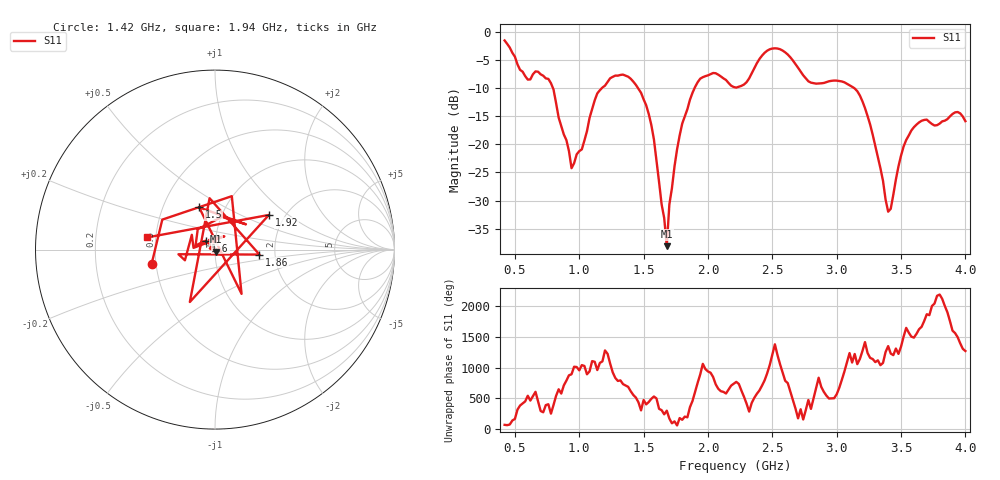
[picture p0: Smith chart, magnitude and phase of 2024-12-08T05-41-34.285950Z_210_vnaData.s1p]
!Created with skrf (http://scikit-rf.org).
# Hz S RI R 50.0
!freq ReS11 ImS11
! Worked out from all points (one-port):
!   180 points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, 420 MHz to 4 GHz, reference 50 ohm
!   lowest |S11| = -38.1 dB at 1.68 GHz (marker M1), VSWR 1.03, Z = 50.5 - j1.13 ohm
!   |S11| at or under -10 dB: 795.7 MHz to 1.176 GHz (379.9 MHz wide, 38.5 % of centre); 1.457 GHz to 1.896 GHz (439.2 MHz wide, 26.2 % of centre); 3.136 GHz to end of sweep
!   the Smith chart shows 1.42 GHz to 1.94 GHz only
!   S11 on the Smith chart (normalised r, x): 1.42 GHz: 0.47, -0.09; 1.5 GHz: 0.76, +0.38; 1.6 GHz: 0.90, +0.09; 1.86 GHz: 1.66, -0.10; 1.92 GHz: 1.66, +0.73; 1.94 GHz: 0.45, +0.07
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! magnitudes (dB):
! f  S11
! 420 MHz  -1.5
! 600 MHz  -8.5
! 760 MHz  -8.4
! 880 MHz  -18.2
! 940 MHz  -24.2
! 1.02 GHz  -20.9
! 1.14 GHz  -10.9
! 1.32 GHz  -7.7
! 1.42 GHz  -8.8
! 1.5 GHz  -12.0
! 1.56 GHz  -16.6
! 1.6 GHz  -22.9
! 1.68 GHz  -38.1
! 1.7 GHz  -30.7
! 1.78 GHz  -18.4
! 1.86 GHz  -12.1
! 1.92 GHz  -8.9
! 1.94 GHz  -8.3
! 2.22 GHz  -9.9
! 2.48 GHz  -3.1
! 2.66 GHz  -5.1
! 2.8 GHz  -9.0
! 3.12 GHz  -9.8
! 3.26 GHz  -16.5
! 3.4 GHz  -32.0
! 3.56 GHz  -18.4
! 3.68 GHz  -15.7
! 4 GHz  -15.9
